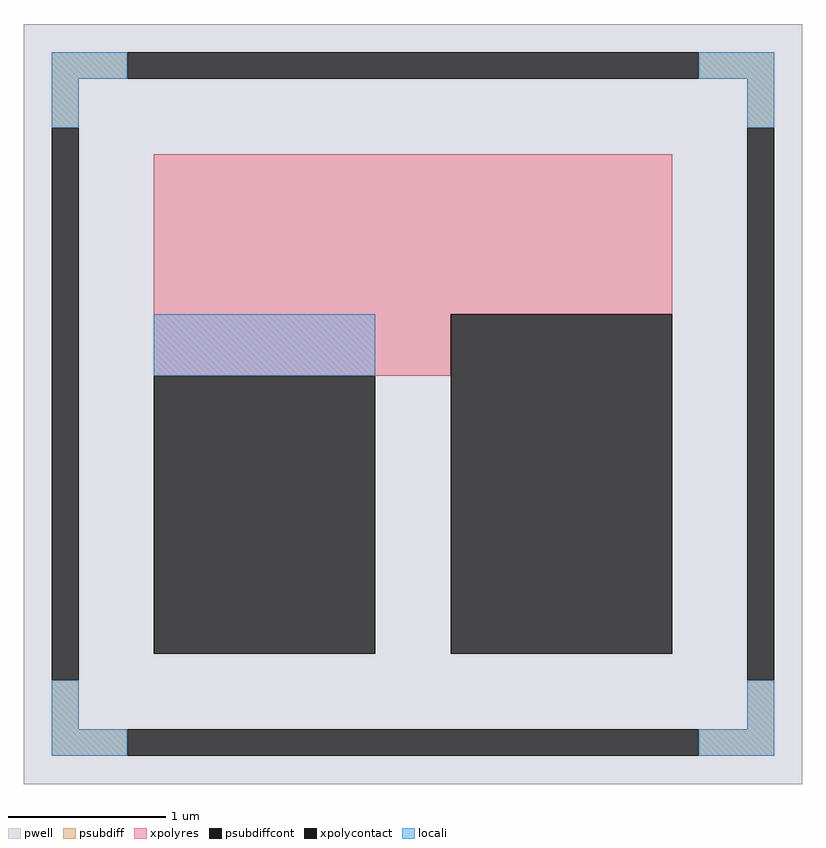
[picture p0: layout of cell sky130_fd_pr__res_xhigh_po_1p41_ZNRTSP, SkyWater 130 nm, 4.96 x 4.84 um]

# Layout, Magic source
magic
tech sky130B
<< pwell >>
rect -248 -242 248 242
<< psubdiff >>
rect -230 207 -182 224
rect 182 207 230 224
rect -230 176 -213 207
rect 213 176 230 207
rect -230 -207 -213 -176
rect 213 -207 230 -176
rect -230 -224 -182 -207
rect 182 -224 230 -207
<< psubdiffcont >>
rect -182 207 182 224
rect -230 -176 -213 176
rect 213 -176 230 176
rect -182 -224 182 -207
<< xpolycontact >>
rect -165 -159 -24 18
rect 24 -159 165 57
<< xpolyres >>
rect -165 57 165 159
rect -165 18 24 57
<< locali >>
rect -230 207 -182 224
rect 182 207 230 224
rect -230 176 -213 207
rect 213 176 230 207
rect -165 18 -24 57
rect -230 -207 -213 -176
rect 213 -207 230 -176
rect -230 -224 -182 -207
rect 182 -224 230 -207
<< properties >>
string FIXED_BBOX -221 -215 221 215
string gencell sky130_fd_pr__res_xhigh_po_1p41
string library sky130
string parameters w 1.410 l 0.50 m 1 nx 2 wmin 1.410 lmin 0.50 rho 2000 val 6.752k dummy 0 dw 0.0 term 188.2 sterm 0.0 caplen 0 wmax 1.410 guard 1 glc 1 grc 1 gtc 1 gbc 1 compatible {sky130_fd_pr__res_xhigh_po_0p35  sky130_fd_pr__res_xhigh_po_0p69 sky130_fd_pr__res_xhigh_po_1p41  sky130_fd_pr__res_xhigh_po_2p85 sky130_fd_pr__res_xhigh_po_5p73} snake 1 full_metal 1 n_guard 0 hv_guard 0 vias 1 viagb 0 viagt 0 viagl 0 viagr 0
<< end >>
